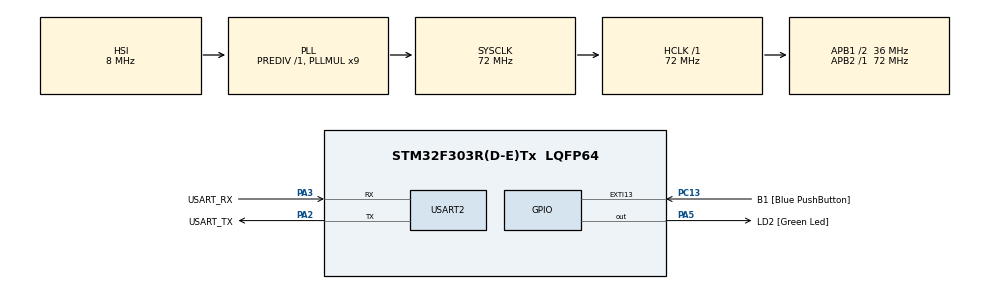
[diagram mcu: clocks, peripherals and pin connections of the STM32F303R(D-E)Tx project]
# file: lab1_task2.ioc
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Mcu.Family=STM32F3
Mcu.Name=STM32F303R(D-E)Tx
Mcu.Package=LQFP64
NVIC.PriorityGroup=NVIC_PRIORITYGROUP_0
PA13.GPIO_Label=TMS
PA13.Mode=Serial_Wire
PA13.Signal=SYS_JTMS-SWDIO
PA14.GPIO_Label=TCK
PA14.Mode=Serial_Wire
PA14.Signal=SYS_JTCK-SWCLK
PA2.GPIO_Label=USART_TX
PA2.GPIO_Mode=GPIO_MODE_AF_PP
PA2.GPIO_PuPd=GPIO_NOPULL
PA2.GPIO_Speed=GPIO_SPEED_FREQ_LOW
PA2.Mode=Asynchronous
PA2.Signal=USART2_TX
PA3.GPIO_Label=USART_RX
PA3.GPIO_Mode=GPIO_MODE_AF_PP
PA3.GPIO_PuPd=GPIO_NOPULL
PA3.GPIO_Speed=GPIO_SPEED_FREQ_LOW
PA3.Mode=Asynchronous
PA3.Signal=USART2_RX
PA5.GPIO_Label=LD2 [Green Led]
PA5.GPIO_Mode=GPIO_MODE_OUTPUT_PP
PA5.GPIO_PuPd=GPIO_NOPULL
PA5.GPIO_Speed=GPIO_SPEED_FREQ_LOW
PA5.Signal=GPIO_Output
PB3.GPIO_Label=SWO
PB3.Signal=SYS_JTDO-TRACESWO
PC13.GPIO_Label=B1 [Blue PushButton]
PC13.GPIO_ModeDefaultEXTI=GPIO_MODE_IT_FALLING
PC13.Signal=GPXTI13
PC14-OSC32_IN.Mode=LSE-External-Oscillator
PC14-OSC32_IN.Signal=RCC_OSC32_IN
PC15-OSC32_OUT.Mode=LSE-External-Oscillator
PC15-OSC32_OUT.Signal=RCC_OSC32_OUT
PF0-OSC_IN.Mode=HSE-External-Clock-Source
PF0-OSC_IN.Signal=RCC_OSC_IN
PF1-OSC_OUT.Signal=RCC_OSC_OUT
ProjectManager.HeapSize=0x200
ProjectManager.StackSize=0x400
ProjectManager.TargetToolchain=STM32CubeIDE
RCC.AHBFreq_Value=72000000
RCC.APB1CLKDivider=RCC_HCLK_DIV2
RCC.APB1Freq_Value=36000000
RCC.APB1TimFreq_Value=72000000
RCC.APB2Freq_Value=72000000
RCC.APB2TimFreq_Value=72000000
RCC.CortexFreq_Value=72000000
RCC.HCLKFreq_Value=72000000
RCC.HSE_VALUE=8000000
RCC.HSI_VALUE=8000000
RCC.PLLM=8
RCC.PLLMUL=RCC_PLL_MUL9
RCC.PLLN=336
RCC.PLLP=RCC_PLLP_DIV4
RCC.PLLQ=7
RCC.RCC_PLLsource_Clock_Source_FROM_HSE=RCC_HSE_PREDIV_DIV2
RCC.SYSCLKFreq_VALUE=72000000
RCC.SYSCLKSourceVirtual=RCC_SYSCLKSOURCE_PLLCLK
RCC.USBFreq_Value=72000000
USART2.VirtualMode-Asynchronous=VM_ASYNC
board=NUCLEO-F303RE

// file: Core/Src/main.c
/* USER CODE BEGIN Header */
/**
  ******************************************************************************
  * @file           : main.c
  * @brief          : Main program body
  ******************************************************************************
  * @attention
  *
  * Copyright (c) 2025 STMicroelectronics.
  * All rights reserved.
  *
  * This software is licensed under terms that can be found in the LICENSE file
  * in the root directory of this software component.
  * If no LICENSE file comes with this software, it is provided AS-IS.
  *
  ******************************************************************************
  */
/* USER CODE END Header */
#include "main.h"

UART_HandleTypeDef huart2;

void SystemClock_Config(void);
static void MX_GPIO_Init(void);
static void MX_USART2_UART_Init(void);

int main(void)
{

  /* MCU Configuration--------------------------------------------------------*/

  /* Reset of all peripherals, Initializes the Flash interface and the Systick. */
  HAL_Init();

  /* Configure the system clock */
  SystemClock_Config();

  /* Initialize all configured peripherals */
  MX_GPIO_Init();
  MX_USART2_UART_Init();
  /* USER CODE BEGIN 2 */

  uint16_t integer = 0b1110000000000000;
  /* USER CODE END 2 */

  /* Infinite loop */
  /* USER CODE BEGIN WHILE */
  GPIO_InitTypeDef GPIO_InitStruct = {0};

   	    HAL_GPIO_WritePin(GPIOB, GPIO_PIN_10, GPIO_PIN_RESET);
   	    HAL_GPIO_WritePin(GPIOB, GPIO_PIN_4, GPIO_PIN_RESET);
   	    HAL_GPIO_WritePin(GPIOB, GPIO_PIN_5, GPIO_PIN_RESET);
   	    HAL_GPIO_WritePin(GPIOB, GPIO_PIN_3, GPIO_PIN_RESET);

   	    GPIO_InitStruct.Pin = GPIO_PIN_10 | GPIO_PIN_4 | GPIO_PIN_5 | GPIO_PIN_3;
   	    GPIO_InitStruct.Mode = GPIO_MODE_OUTPUT_PP;
   	    GPIO_InitStruct.Pull = GPIO_NOPULL;
   	    GPIO_InitStruct.Speed = GPIO_SPEED_FREQ_LOW;
   	    HAL_GPIO_Init(GPIOB, &GPIO_InitStruct);

   	    int upperNibble = (integer);

   	    int LED_PINS[4] = {GPIO_PIN_3, GPIO_PIN_5, GPIO_PIN_4, GPIO_PIN_10};

  while (1)
  {
    /* USER CODE END WHILE */

	/* USER CODE BEGIN 3 */
	  	  for (int i = 0; i < 4; i++) {
	 		  if (upperNibble & (1 << (3 - i))) {
	 			  HAL_GPIO_WritePin(GPIOB, LED_PINS[i], GPIO_PIN_SET);
	 		  } else {
	 			 HAL_GPIO_WritePin(GPIOB, LED_PINS[i], GPIO_PIN_RESET);
	 		  }
	  	  }
}
  /* USER CODE END 3 */
}

void SystemClock_Config(void)
{
  RCC_OscInitTypeDef RCC_OscInitStruct = {0};
  RCC_ClkInitTypeDef RCC_ClkInitStruct = {0};
  RCC_PeriphCLKInitTypeDef PeriphClkInit = {0};

  /** Initializes the RCC Oscillators according to the specified parameters
  * in the RCC_OscInitTypeDef structure.
  */
  RCC_OscInitStruct.OscillatorType = RCC_OSCILLATORTYPE_HSI;
  RCC_OscInitStruct.HSIState = RCC_HSI_ON;
  RCC_OscInitStruct.HSICalibrationValue = RCC_HSICALIBRATION_DEFAULT;
  RCC_OscInitStruct.PLL.PLLState = RCC_PLL_ON;
  RCC_OscInitStruct.PLL.PLLSource = RCC_PLLSOURCE_HSI;
  RCC_OscInitStruct.PLL.PLLMUL = RCC_PLL_MUL9;
  RCC_OscInitStruct.PLL.PREDIV = RCC_PREDIV_DIV1;
  if (HAL_RCC_OscConfig(&RCC_OscInitStruct) != HAL_OK)
  {
    Error_Handler();
  }

  /** Initializes the CPU, AHB and APB buses clocks
  */
  RCC_ClkInitStruct.ClockType = RCC_CLOCKTYPE_HCLK|RCC_CLOCKTYPE_SYSCLK
                              |RCC_CLOCKTYPE_PCLK1|RCC_CLOCKTYPE_PCLK2;
  RCC_ClkInitStruct.SYSCLKSource = RCC_SYSCLKSOURCE_PLLCLK;
  RCC_ClkInitStruct.AHBCLKDivider = RCC_SYSCLK_DIV1;
  RCC_ClkInitStruct.APB1CLKDivider = RCC_HCLK_DIV2;
  RCC_ClkInitStruct.APB2CLKDivider = RCC_HCLK_DIV1;

  if (HAL_RCC_ClockConfig(&RCC_ClkInitStruct, FLASH_LATENCY_2) != HAL_OK)
  {
    Error_Handler();
  }
  PeriphClkInit.PeriphClockSelection = RCC_PERIPHCLK_USART2;
  PeriphClkInit.Usart2ClockSelection = RCC_USART2CLKSOURCE_PCLK1;
  if (HAL_RCCEx_PeriphCLKConfig(&PeriphClkInit) != HAL_OK)
  {
    Error_Handler();
  }
}

static void MX_USART2_UART_Init(void)
{

  huart2.Instance = USART2;
  huart2.Init.BaudRate = 38400;
  huart2.Init.WordLength = UART_WORDLENGTH_8B;
  huart2.Init.StopBits = UART_STOPBITS_1;
  huart2.Init.Parity = UART_PARITY_NONE;
  huart2.Init.Mode = UART_MODE_TX_RX;
  huart2.Init.HwFlowCtl = UART_HWCONTROL_NONE;
  huart2.Init.OverSampling = UART_OVERSAMPLING_16;
  huart2.Init.OneBitSampling = UART_ONE_BIT_SAMPLE_DISABLE;
  huart2.AdvancedInit.AdvFeatureInit = UART_ADVFEATURE_NO_INIT;
  if (HAL_UART_Init(&huart2) != HAL_OK)
  {
    Error_Handler();
  }

}

static void MX_GPIO_Init(void)
{
  GPIO_InitTypeDef GPIO_InitStruct = {0};

  /* GPIO Ports Clock Enable */
  __HAL_RCC_GPIOC_CLK_ENABLE();
  __HAL_RCC_GPIOF_CLK_ENABLE();
  __HAL_RCC_GPIOA_CLK_ENABLE();
  __HAL_RCC_GPIOB_CLK_ENABLE();

  /*Configure GPIO pin Output Level */
  HAL_GPIO_WritePin(LD2_GPIO_Port, LD2_Pin, GPIO_PIN_RESET);

  /*Configure GPIO pin : B1_Pin */
  GPIO_InitStruct.Pin = B1_Pin;
  GPIO_InitStruct.Mode = GPIO_MODE_IT_FALLING;
  GPIO_InitStruct.Pull = GPIO_NOPULL;
  HAL_GPIO_Init(B1_GPIO_Port, &GPIO_InitStruct);

  /*Configure GPIO pin : LD2_Pin */
  GPIO_InitStruct.Pin = LD2_Pin;
  GPIO_InitStruct.Mode = GPIO_MODE_OUTPUT_PP;
  GPIO_InitStruct.Pull = GPIO_NOPULL;
  GPIO_InitStruct.Speed = GPIO_SPEED_FREQ_LOW;
  HAL_GPIO_Init(LD2_GPIO_Port, &GPIO_InitStruct);

}

void Error_Handler(void)
{
  __disable_irq();
  while (1)
  {
  }
}
